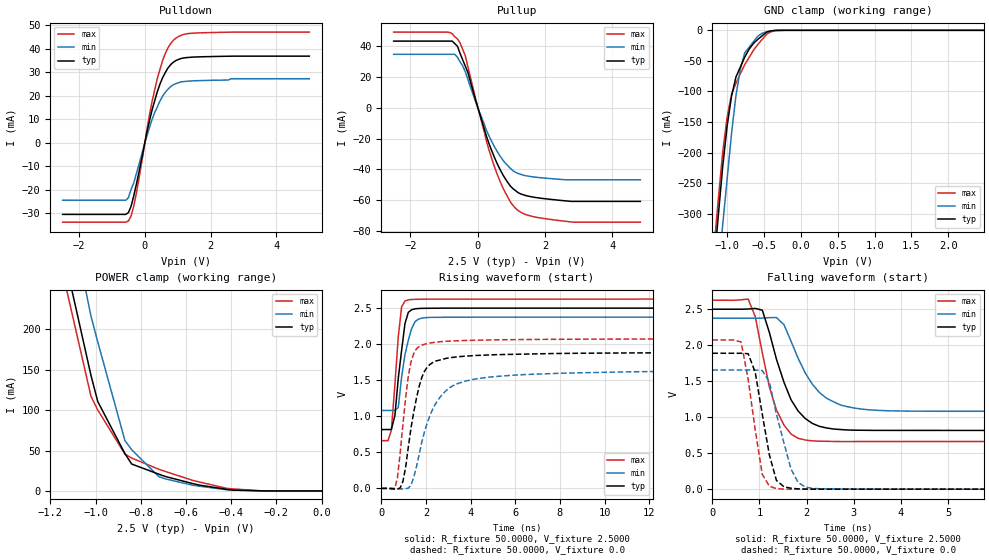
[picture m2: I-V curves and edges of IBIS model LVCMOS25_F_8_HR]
| [Disclaimer] The data in this file is derived from SPICE simulations using
| modeling information extracted from the target process.
| A great deal of care has been taken to provide information
| that is accurate. This model has been verified by actual silicon
| measurement.
| [Copyright] Copyright 2012-2016, Xilinx Inc., All rights reserved
| From altair_1hdmi_3v3_12mA.ibs, ZYNQ, Xilinx Inc.
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[Model]  LVCMOS25_F_8_HR
Model_type I/O
Polarity   Non-Inverting
Enable   Active-Low
Vinl = 0.7
Vinh = 1.7
Vmeas =  1.250V
Cref =   0.0F
Rref =   1.0000M
Vref =   0.0V
C_comp   7.1000pF   7.0900pF   7.2400pF
[Temperature Range]   25.0000   85.0000   0.0
[Voltage Range]   2.5000V   2.3750V   2.6250V
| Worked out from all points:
|   slope of the pulldown table from 0 to 0.375 V, typ, clamps not added: 17.4 ohm
|   slope of the pullup table from 0 to 0.375 V, typ, clamps not added: 14.5 ohm
|   GND clamp passes 1 mA (typ) near -0.41 V on its own axis
|   POWER clamp passes 1 mA (typ) near -0.39 V on its own axis
|   rising waveform, R_fixture 50.0000, V_fixture 2.5000: 20-80 % time 360ps typ, 429ps min, 294ps max; typ from 0.816 V to 2.5 V
|   rising waveform, R_fixture 50.0000, V_fixture 0.0: 20-80 % time 657ps typ, 1.2ns min, 453ps max; typ from 0 V to 1.88 V
|   falling waveform, R_fixture 50.0000, V_fixture 2.5000: 20-80 % time 540ps typ, 648ps min, 435ps max; typ from 2.5 V to 0.816 V
|   falling waveform, R_fixture 50.0000, V_fixture 0.0: 20-80 % time 313ps typ, 383ps min, 287ps max; typ from 1.89 V to 0 V
[Pulldown]
|Voltage   I(typ)   I(min)   I(max)
-2.5V     -30.56mA   -24.54mA   -33.88mA
-580mV    -30.56mA   -24.54mA   -33.88mA
-500mV    -29.8mA    -23.47mA   -33.37mA
-420mV    -27.14mA   -19.99mA   -31.31mA
-340mV    -22.82mA   -17.26mA   -27.22mA
-180mV    -12.61mA   -9.324mA   -15.44mA
140mV     9.315mA    6.377mA    11.76mA
380mV     21.79mA    15.3mA     27.4mA
620mV     29.83mA    21.47mA    37.93mA
940mV     34.96mA    25.15mA    44.49mA
1.5V      36.48mA    26.37mA    46.69mA
5V        36.87mA    27.25mA    47.12mA
[Pullup]
|Voltage   I(typ)   I(min)   I(max)
-2.5V     43.26mA    34.69mA    49.12mA
-920mV    43.26mA    34.69mA    49.12mA
-760mV    43.26mA    34.69mA    48.09mA
-600mV    39.86mA    32.72mA    44.66mA
-370mV    27.08mA    23.46mA    33.84mA
260mV     -18.45mA   -14.53mA   -21.62mA
500mV     -32.3mA    -25.3mA    -38.3mA
820mV     -46mA      -35.84mA   -54.98mA
1.21V     -55.16mA   -42.66mA   -66.82mA
1.68V     -58.06mA   -44.92mA   -70.75mA
2.79V     -60.73mA   -46.72mA   -74.07mA
4.84V     -60.73mA   -46.72mA   -74.23mA
[GND_clamp]
|Voltage   I(typ)   I(min)   I(max)
-2.5V     -2.37A     -2.439A    -2.344A
-1.18V    -386.3mA   -468.4mA   -358.1mA
-1.12V    -303.6mA   -393.5mA   -277.1mA
-1.06V    -223.2mA   -318.5mA   -199.5mA
-1V       -156.7mA   -243.6mA   -142.2mA
-940mV    -107.5mA   -168.7mA   -104.9mA
-880mV    -76.31mA   -106.6mA   -86.51mA
-820mV    -59.91mA   -63.05mA   -70.76mA
-760mV    -43.51mA   -36.69mA   -55.88mA
-520mV    -8.469mA   -4.559mA   -14.15mA
-280mV    -43.02uA   -69.71uA   -72.66uA
2.48V     14.51nA    95.75nA    10.52nA
[POWER_clamp]
|Voltage   I(typ)   I(min)   I(max)
-2.49V    2.35A      2.418A     2.324A
-1.14V    292.9mA    380.4mA    263.9mA
-1.11V    255.4mA    339.3mA    227.2mA
-1.08V    217.9mA    298.3mA    190.5mA
-1.05V    180.4mA    257.3mA    153.8mA
-1.02V    142.9mA    216.3mA    117mA
-990mV    110.6mA    184.3mA    100.1mA
-870mV    46.21mA    62.36mA    45.56mA
-840mV    33.26mA    50.94mA    40.67mA
-720mV    20.7mA     17.69mA    26.81mA
-420mV    1.993mA    1.414mA    3.211mA
0V        14.74nA    134.2nA    17.9nA
[Ramp]
| variable   typ   min   max
dV/dt_r  1.1292/0.6466n   0.9774/1.1283n   1.2432/0.4482n
dV/dt_f  1.0105/0.5303n   0.7764/0.6478n   1.1781/0.4332n
R_load = 50.0000
[Rising Waveform]
R_fixture= 50.0000
V_fixture= 2.5000
V_fixture_min= 2.3750
V_fixture_max= 2.6250
|time   V(typ)   V(min)   V(max)
0s        815.8mV    1.081V     661.5mV
300ps     815.8mV    1.081V     661.5mV
450ps     815.8mV    1.081V     803.9mV
610ps     1.012V     1.081V     1.443V
760ps     1.526V     1.121V     2.103V
910ps     1.915V     1.548V     2.519V
1.06ns    2.285V     1.856V     2.598V
1.52ns    2.49V      2.315V     2.621V
1.97ns    2.497V     2.367V     2.623V
15ns      2.5V       2.374V     2.625V
[Rising Waveform]
R_fixture= 50.0000
V_fixture= 0.0
|time   V(typ)   V(min)   V(max)
0s        0V         873.5nV    0V
605.2ps   -10.9mV    -27.75uV   -3.923mV
968.3ps   97.9mV     -7.514mV   891mV
1.21ns    575.1mV    3.211mV    1.56V
1.452ns   1.058V     152.2mV    1.869V
1.816ns   1.54V      644.9mV    1.985V
2.179ns   1.72V      1.01V      2.016V
3.268ns   1.819V     1.433V     2.045V
6.052ns   1.861V     1.572V     2.063V
35.59ns   1.882V     1.655V     2.072V
[Falling Waveform]
R_fixture= 50.0000
V_fixture= 2.5000
V_fixture_min= 2.3750
V_fixture_max= 2.6250
|time   V(typ)   V(min)   V(max)
0s        2.5V       2.375V     2.625V
760ps     2.503V     2.375V     2.641V
910ps     2.511V     2.374V     2.399V
1.06ns    2.487V     2.377V     1.894V
1.36ns    1.806V     2.384V     1.1V
1.52ns    1.485V     2.285V     890.3mV
1.82ns    1.086V     1.818V     706.6mV
2.27ns    873.1mV    1.344V     666.5mV
3.03ns    819.5mV    1.125V     661.5mV
8.94ns    815.9mV    1.081V     661.5mV
[Falling Waveform]
R_fixture= 50.0000
V_fixture= 0.0
|time   V(typ)   V(min)   V(max)
0s        1.888V     1.655V     2.073V
610ps     1.888V     1.655V     2.045V
760ps     1.882V     1.655V     1.527V
910ps     1.623V     1.655V     821.2mV
1.06ns    1.039V     1.648V     204.4mV
1.21ns    475.7mV    1.489V     42.35mV
1.36ns    121.2mV    1.04V      6.323mV
1.67ns    13.54mV    277.9mV    567uV
1.97ns    1.227mV    30.08mV    269.3uV
5.91ns    0V         0V         0V
